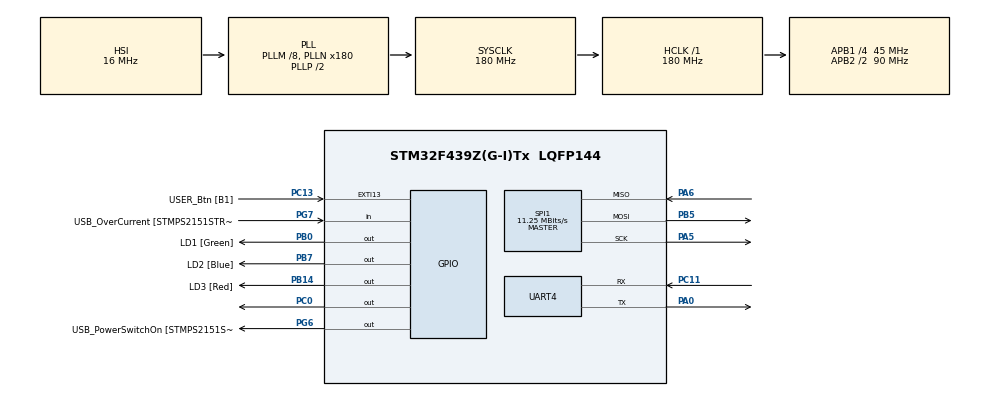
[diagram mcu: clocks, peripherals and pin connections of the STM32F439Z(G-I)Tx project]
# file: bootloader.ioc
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FATFS._FS_LOCK=3
FATFS._MAX_SS=4096
FATFS._USE_LFN=1
Mcu.Family=STM32F4
Mcu.Name=STM32F439Z(G-I)Tx
Mcu.Package=LQFP144
NVIC.PriorityGroup=NVIC_PRIORITYGROUP_4
NVIC.UART4_IRQn=true\:0\:0\:false\:false\:true\:true\:true\:true
PA0/WKUP.Mode=Asynchronous
PA0/WKUP.Signal=UART4_TX
PA1.GPIO_Label=RMII_REF_CLK [LAN8742A-CZ-TR_REFCLK0]
PA1.Signal=ETH_REF_CLK
PA10.GPIO_Label=USB_ID
PA10.Signal=USB_OTG_FS_ID
PA11.GPIO_Label=USB_DM
PA11.Signal=USB_OTG_FS_DM
PA12.GPIO_Label=USB_DP
PA12.Signal=USB_OTG_FS_DP
PA13.GPIO_Label=TMS
PA13.Signal=SYS_JTMS-SWDIO
PA14.GPIO_Label=TCK
PA14.Signal=SYS_JTCK-SWCLK
PA2.GPIO_Label=RMII_MDIO [LAN8742A-CZ-TR_MDIO]
PA2.Signal=ETH_MDIO
PA5.Mode=Full_Duplex_Master
PA5.Signal=SPI1_SCK
PA6.Mode=Full_Duplex_Master
PA6.Signal=SPI1_MISO
PA7.GPIO_Label=RMII_CRS_DV [LAN8742A-CZ-TR_CRS_DV]
PA7.Signal=ETH_CRS_DV
PA8.GPIO_Label=USB_SOF [TP1]
PA8.Signal=USB_OTG_FS_SOF
PA9.GPIO_Label=USB_VBUS
PA9.Signal=USB_OTG_FS_VBUS
PB0.GPIO_Label=LD1 [Green]
PB0.Signal=GPIO_Output
PB13.GPIO_Label=RMII_TXD1 [LAN8742A-CZ-TR_TXD1]
PB13.Signal=ETH_TXD1
PB14.GPIO_Label=LD3 [Red]
PB14.Signal=GPIO_Output
PB5.Mode=Full_Duplex_Master
PB5.Signal=SPI1_MOSI
PB7.GPIO_Label=LD2 [Blue]
PB7.Signal=GPIO_Output
PC0.Signal=GPIO_Output
PC1.GPIO_Label=RMII_MDC [LAN8742A-CZ-TR_MDC]
PC1.Signal=ETH_MDC
PC11.Mode=Asynchronous
PC11.Signal=UART4_RX
PC13.GPIO_Label=USER_Btn [B1]
PC13.Signal=GPXTI13
PC14/OSC32_IN.Signal=RCC_OSC32_IN
PC15/OSC32_OUT.Signal=RCC_OSC32_OUT
PC4.GPIO_Label=RMII_RXD0 [LAN8742A-CZ-TR_RXD0]
PC4.Signal=ETH_RXD0
PC5.GPIO_Label=RMII_RXD1 [LAN8742A-CZ-TR_RXD1]
PC5.Signal=ETH_RXD1
PD8.GPIO_Label=STLK_RX [STM32F103CBT6_PA3]
PD8.Signal=USART3_TX
PD9.GPIO_Label=STLK_TX [STM32F103CBT6_PA2]
PD9.Signal=USART3_RX
PG11.GPIO_Label=RMII_TX_EN [LAN8742A-CZ-TR_TXEN]
PG11.Signal=ETH_TX_EN
PG13.GPIO_Label=RMII_TXD0 [LAN8742A-CZ-TR_TXD0]
PG13.Signal=ETH_TXD0
PG6.GPIO_Label=USB_PowerSwitchOn [STMPS2151STR_EN]
PG6.Signal=GPIO_Output
PG7.GPIO_Label=USB_OverCurrent [STMPS2151STR_FAULT]
PG7.Signal=GPIO_Input
PH0/OSC_IN.GPIO_Label=MCO [STM32F103CBT6_PA8]
PH0/OSC_IN.Signal=RCC_OSC_IN
PH1/OSC_OUT.Signal=RCC_OSC_OUT
ProjectManager.HeapSize=0x200
ProjectManager.StackSize=0x400
ProjectManager.TargetToolchain=STM32CubeIDE
RCC.48MHZClocksFreq_Value=90000000
RCC.AHBFreq_Value=180000000
RCC.APB1CLKDivider=RCC_HCLK_DIV4
RCC.APB1Freq_Value=45000000
RCC.APB1TimFreq_Value=90000000
RCC.APB2CLKDivider=RCC_HCLK_DIV2
RCC.APB2Freq_Value=90000000
RCC.APB2TimFreq_Value=180000000
RCC.CortexFreq_Value=180000000
RCC.HCLKFreq_Value=180000000
RCC.HSE_VALUE=8000000
RCC.HSI_VALUE=16000000
RCC.LSE_VALUE=32768
RCC.PLLM=8
RCC.PLLMUL=RCC_PLL_MUL9
RCC.PLLN=180
RCC.PRESCALERUSB=RCC_USBCLKSOURCE_PLL_DIV1_5
RCC.SYSCLKFreq_VALUE=180000000
RCC.SYSCLKSource=RCC_SYSCLKSOURCE_PLLCLK
RCC.SYSCLKSourceVirtual=RCC_SYSCLKSOURCE_PLLCLK
RCC.USBFreq_Value=48000000
RCC.VCOOutputFreq_Value=360000000
SPI1.BaudRatePrescaler=SPI_BAUDRATEPRESCALER_8
SPI1.CalculateBaudRate=11.25 MBits/s
SPI1.Direction=SPI_DIRECTION_2LINES
SPI1.Mode=SPI_MODE_MASTER
SPI1.VirtualType=VM_MASTER
UART4.VirtualMode=Asynchronous
VP_FATFS_VS_Generic.Mode=User_defined
board=NUCLEO-F439ZI

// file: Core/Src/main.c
/* USER CODE BEGIN Header */
/**
  ******************************************************************************
  * @file           : main.c
  * @brief          : Main program body
  ******************************************************************************
  * @attention
  *
  * Copyright (c) 2023 STMicroelectronics.
  * All rights reserved.
  *
  * This software is licensed under terms that can be found in the LICENSE file
  * in the root directory of this software component.
  * If no LICENSE file comes with this software, it is provided AS-IS.
  *
  ******************************************************************************
  */
/* USER CODE END Header */
#include "main.h"
#include "fatfs.h"
#include "spi.h"
#include "usart.h"
#include "gpio.h"

/* USER CODE BEGIN Includes */
#include "General_Config.h"
#include "stm32f4xx_hal.h"

#if DELTA_PATCH_ENABLED == ENABLED
	#include "fatfs_sd.h"
	#define JANPATCH_STREAM     FIL
	#define SEEK_CUR 1
	#define SEEK_END 2
	#define SEEK_SET 0
	#include "janpatch.h"
#endif

#include "App_UTIL.h"
/* USER CODE END Includes */

/* USER CODE BEGIN PM */

uint8_t app_size[8];

/* USER CODE END PM */

/* USER CODE BEGIN PV */
uint8_t  data_received[100000];
uint8_t  App_Digest_received[32];

uint8_t Complete_Receiving_flag=0;

void HAL_UART_RxCpltCallback(UART_HandleTypeDef *huart){

	if(Complete_Receiving_flag ==0){
		Complete_Receiving_flag =1;
		HAL_UART_Receive_IT(&huart4, App_Digest_received, 32);
	}else if(Complete_Receiving_flag ==1){
		Complete_Receiving_flag =2;
	}
}

/* USER CODE END PV */

void SystemClock_Config(void);

int main(void)
{

  /* MCU Configuration--------------------------------------------------------*/

  /* Reset of all peripherals, Initializes the Flash interface and the Systick. */
  HAL_Init();

  /* Configure the system clock */
  SystemClock_Config();

  /* Initialize all configured peripherals */
  MX_GPIO_Init();
  MX_FATFS_Init();
  MX_SPI1_Init();
  MX_UART4_Init();
  /* USER CODE BEGIN 2 */

	  HAL_GPIO_WritePin(LD2_GPIO_Port, LD2_Pin,GPIO_PIN_SET);
//	  HAL_GPIO_WritePin(LD2_GPIO_Port, LD2_Pin,GPIO_PIN_RESET);

#if (DELTA_PATCH_ENABLED == ENABLED)
  //some variables for FatFs
     FATFS FatFs; 	//Fatfs handle
     FIL fil_old; 		//File handle
     FIL fil_patch; 		//File handle
     FIL fil_new; 		//File handle
     FRESULT fres; //Result after operations

     //Open the file system
       fres = f_mount(&FatFs, "", 1); //1=mount now
       if (fres != FR_OK) {
     	  printf("error\n");
       }

       //Now let's try to open file "old.txt"
         fres = f_open(&fil_old, "app.bin", FA_READ);
         if (fres != FR_OK) {
       	  printf("error\n");
         }
     //Now let's try to open file "patch.txt"
  	  fres = f_open(&fil_patch, "diff.patch", FA_READ);
  	  if (fres != FR_OK) {
  		  printf("error\n");
  	  }
  	  //Now let's try to open file "new.txt"
  	 fres = f_open(&fil_new, "reconstruct.bin", FA_WRITE| FA_OPEN_ALWAYS | FA_CREATE_ALWAYS);
  	 if (fres != FR_OK) {
  		 printf("error\n");
  	 }
      // janpatch_ctx contains buffers, and references to the file system functions
      janpatch_ctx ctx = {
          { (unsigned char*)malloc(1024), 1024 }, // source buffer
          { (unsigned char*)malloc(1024), 1024 }, // patch buffer
          { (unsigned char*)malloc(1024), 1024 }, // target buffer
          &f_read,
          &f_write,
          &f_lseek
      };

    //patching
    int res = janpatch(ctx, &fil_old, &fil_patch, &fil_new);

    fres = f_close(&fil_old);
    fres = f_close(&fil_patch);
    fres = f_close(&fil_new);
    //successful patching

    if(res == 0){
  	    char buffer[4];
  	    int size;
  	    fres = f_open(&fil_new, "reconstruct.bin", FA_READ);
  	    // Reads line by line until the end
  	    do
  	    {
  	       f_read(&fil_new, buffer, sizeof(buffer), &size);
  	      // buffer now has the data ,can use and flash it
  	      memset(buffer,0,sizeof(buffer));
  	    }while(size !=0);
    }

    //don't forget to close your file!
    fres = f_close(&fil_new);
    //We're done, so de-mount the drive
    fres =f_mount(NULL, "", 0);
#endif

  //blocking until receive the app size
  HAL_UART_Receive(&huart4, app_size, 8,HAL_MAX_DELAY);
  uint32_t app_size_length = atoi(app_size);
  HAL_UART_Receive_IT(&huart4, data_received, app_size_length);

  /* USER CODE END 2 */

  /* Infinite loop */
  /* USER CODE BEGIN WHILE */
  uint8_t result =0;

  /* Infinite loop */
  /* USER CODE BEGIN WHILE */
  while (1)
  {
    /* USER CODE END WHILE */

	  if(Complete_Receiving_flag ==2){
		  Complete_Receiving_flag =0;

		  //clear memory sector for app length & app digest
		  result = Flash_Memory_Erase((0x80A0000- 64) , 10 + 32);
		  //writing app length
		  result = Flash_Memory_Write((0x80A0000- 64), (uint32_t *)app_size, 8);
		  //writing app digest
		  result = Flash_Memory_Write((0x80A0000- 32), (uint32_t *)App_Digest_received, 32);

		  //writing app itself
		  result = Flash_Memory_Erase(0x80A0000, app_size_length);
		  result = Flash_Memory_Write(0x80A0000, (uint32_t *)data_received, app_size_length);
		  jump_to_application(0x80A0000);
	  }
  }
}

void SystemClock_Config(void)
{
  RCC_OscInitTypeDef RCC_OscInitStruct = {0};
  RCC_ClkInitTypeDef RCC_ClkInitStruct = {0};

  /** Configure the main internal regulator output voltage
  */
  __HAL_RCC_PWR_CLK_ENABLE();
  __HAL_PWR_VOLTAGESCALING_CONFIG(PWR_REGULATOR_VOLTAGE_SCALE1);

  /** Initializes the RCC Oscillators according to the specified parameters
  * in the RCC_OscInitTypeDef structure.
  */
  RCC_OscInitStruct.OscillatorType = RCC_OSCILLATORTYPE_HSI;
  RCC_OscInitStruct.HSIState = RCC_HSI_ON;
  RCC_OscInitStruct.HSICalibrationValue = RCC_HSICALIBRATION_DEFAULT;
  RCC_OscInitStruct.PLL.PLLState = RCC_PLL_ON;
  RCC_OscInitStruct.PLL.PLLSource = RCC_PLLSOURCE_HSI;
  RCC_OscInitStruct.PLL.PLLM = 8;
  RCC_OscInitStruct.PLL.PLLN = 180;
  RCC_OscInitStruct.PLL.PLLP = RCC_PLLP_DIV2;
  RCC_OscInitStruct.PLL.PLLQ = 4;
  if (HAL_RCC_OscConfig(&RCC_OscInitStruct) != HAL_OK)
  {
    Error_Handler();
  }

  /** Activate the Over-Drive mode
  */
  if (HAL_PWREx_EnableOverDrive() != HAL_OK)
  {
    Error_Handler();
  }

  /** Initializes the CPU, AHB and APB buses clocks
  */
  RCC_ClkInitStruct.ClockType = RCC_CLOCKTYPE_HCLK|RCC_CLOCKTYPE_SYSCLK
                              |RCC_CLOCKTYPE_PCLK1|RCC_CLOCKTYPE_PCLK2;
  RCC_ClkInitStruct.SYSCLKSource = RCC_SYSCLKSOURCE_PLLCLK;
  RCC_ClkInitStruct.AHBCLKDivider = RCC_SYSCLK_DIV1;
  RCC_ClkInitStruct.APB1CLKDivider = RCC_HCLK_DIV4;
  RCC_ClkInitStruct.APB2CLKDivider = RCC_HCLK_DIV2;

  if (HAL_RCC_ClockConfig(&RCC_ClkInitStruct, FLASH_LATENCY_5) != HAL_OK)
  {
    Error_Handler();
  }
}

void Error_Handler(void)
{
  __disable_irq();
  while (1)
  {
  }
}
